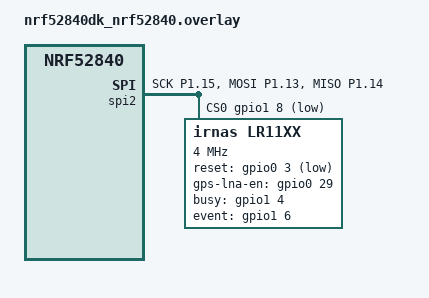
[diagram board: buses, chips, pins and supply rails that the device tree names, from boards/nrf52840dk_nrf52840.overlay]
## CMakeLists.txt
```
# SPDX-License-Identifier: Apache-2.0

cmake_minimum_required(VERSION 3.13.1)

find_package(Zephyr HINTS $ENV{ZEPHYR_BASE})
project(sigfox)

zephyr_compile_options(-fdiagnostics-color=always)

zephyr_include_directories(.)
#add_subdirectory(${CMAKE_CURRENT_SOURCE_DIR}/../common src/common)

target_sources(app PRIVATE src/main_sigfox.c src/lr11xx_rf_api.c src/smtc_dbpsk.c)
```

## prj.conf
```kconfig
# Enable logging (it need to be disabled for low power)
CONFIG_PRINTK=y
CONFIG_GPIO=y
CONFIG_SERIAL=y
CONFIG_CONSOLE=y
CONFIG_UART_CONSOLE=y
CONFIG_LOG=y
CONFIG_LOG_DEFAULT_LEVEL=3
CONFIG_LOG_BACKEND_UART=y

CONFIG_SPI=y
CONFIG_LR11XX_LIB=y
CONFIG_LR11XX_LOG_LEVEL_DBG=y

CONFIG_PINCTRL=y

CONFIG_LR11XX_EVENT_TRIGGER_OWN_THREAD=y

CONFIG_SIGFOX=y
CONFIG_SIGFOX_EP_ID="01234567"
CONFIG_SIGFOX_INITIAL_PAC="0123456789ABCDEF"
CONFIG_SIGFOX_NAK="0123456789ABCDEF0123456789ABCDEF"
CONFIG_SIGFOX_BIDIRECTIONAL=n

CONFIG_FLASH=y
CONFIG_FLASH_PAGE_LAYOUT=y
CONFIG_FLASH_MAP=y
CONFIG_MPU_ALLOW_FLASH_WRITE=y
CONFIG_NVS=y
CONFIG_SETTINGS_NVS=y
```

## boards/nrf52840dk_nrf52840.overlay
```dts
#include <lr11xx_bindings_def.h>
&spi1 {
    status = "disabled";
};

&spi2 {
    compatible = "nordic,nrf-spi";
    status = "okay";
    pinctrl-0 = <&spi2_default>;
    pinctrl-1 = <&spi2_sleep>;
    pinctrl-names = "default", "sleep";

    cs-gpios = <&gpio1 8 GPIO_ACTIVE_LOW>;
    lr11xx: lr11xx@0 {
        compatible = "irnas,lr11xx";
        reg = <0>;
        spi-max-frequency = <4000000>;

        reset-gpios = <&gpio0 3 GPIO_ACTIVE_LOW>;
        gps-lna-en-gpios = <&gpio0 29 0>;
        busy-gpios = <&gpio1 4 (GPIO_ACTIVE_HIGH) >;
        event-gpios = <&gpio1 6 GPIO_ACTIVE_HIGH>;

		lf-tx-path = <LR11XX_TX_PATH_LF_LP_HP>;

        tcxo-supply = <LR11XX_TCXO_SUPPLY_1_8V>;
        tcxo-wakeup-time = <5>;

        lf-clk = <LR11XX_LFCLK_EXT>;
        reg-mode = <LR11XX_REG_MODE_DCDC>;

        rf-sw-enable = <(LR11XX_DIO5 | LR11XX_DIO6 | LR11XX_DIO7)>;
        rf-sw-rx-mode = <LR11XX_DIO5>;
        rf-sw-tx-mode = <(LR11XX_DIO5 | LR11XX_DIO6)>;
        rf-sw-tx-hp-mode = <LR11XX_DIO6>;
        rf-sw-gnss-mode = <LR11XX_DIO7>;
    };
};

&pinctrl {
	spi2_default: spi2_default {
		group1 {
			psels = <NRF_PSEL(SPIM_SCK, 1, 15)>,
			        <NRF_PSEL(SPIM_MOSI, 1, 13)>,
			        <NRF_PSEL(SPIM_MISO, 1, 14)>;
		};
	};

	spi2_sleep: spi2_sleep {
		group1 {
			psels = <NRF_PSEL(SPIM_SCK, 1, 15)>,
			        <NRF_PSEL(SPIM_MOSI, 1, 13)>,
			        <NRF_PSEL(SPIM_MISO, 1, 14)>;
			low-power-enable;
		};
	};
};
```

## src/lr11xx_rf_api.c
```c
#include "lr11xx_rf_api.h"
#include "lr11xx_system.h"
#include "lr11xx_board.h"
#include "lr11xx_radio.h"
#include "lr11xx_regmem.h"
#include "smtc_dbpsk.h"

#include <zephyr/logging/log.h>
LOG_MODULE_REGISTER(lr11xx_rf_api);

typedef struct {
    RF_API_process_cb_t process_cb;
    RF_API_error_cb_t error_cb;
    RF_API_tx_cplt_cb_t tx_cplt_cb;
    RF_API_rx_data_received_cb_t rx_data_received_cb;
} callback_t;

typedef struct {
    callback_t callbacks;
    sfx_bool tx_done_flag;
    sfx_bool rx_done_flag;
    sfx_bool error_flag;
    volatile sfx_bool irq_flag;
    volatile sfx_bool irq_en;
    sfx_u16 backup_bit_rate_bps_patch;
} lr11xx_ctx_t;

static const sfx_u8 LR11XX_RF_API_VERSION[] = "v1.2";

static lr11xx_ctx_t lr11xx_ctx = {
    .callbacks.process_cb = NULL,
    .callbacks.error_cb = NULL,
    .callbacks.tx_cplt_cb = NULL,
    .callbacks.rx_data_received_cb = NULL,
    .tx_done_flag   = 0,
    .rx_done_flag   = 0,
    .error_flag     = 0,
    .irq_flag = 0,
    .irq_en = SFX_FALSE,
    .backup_bit_rate_bps_patch = 0,
};

static void irq_handler(const struct device *dev)
{
    LOG_INF("irq");
    if (lr11xx_ctx.irq_en == 1) {
        lr11xx_ctx.irq_flag = 1;
        if (lr11xx_ctx.callbacks.process_cb != NULL) {
            lr11xx_ctx.callbacks.process_cb();
	}
    }
}

const struct device *device = DEVICE_DT_GET(DT_NODELABEL(lr11xx));

RF_API_status_t LR11XX_RF_API_open(RF_API_config_t *config) {
    RF_API_status_t status = RF_API_SUCCESS;

    /* Set callbacks. */
    lr11xx_ctx.callbacks.process_cb = config->process_cb;
    lr11xx_ctx.callbacks.error_cb = config->error_cb;

    //apps_common_lr11xx_system_init( ( void* ) context );
    //apps_common_lr11xx_fetch_and_print_version( ( void* ) context );
    //apps_common_lr11xx_radio_dbpsk_init( ( void* ) context, SIGFOX_PAYLOAD_LENGTH );

    // int err = lr11xx_system_set_dio_irq_params(device, LR11XX_SYSTEM_IRQ_TX_DONE, 0);
    // if (err) {
    //     LOG_ERR("Failed to set dio irq params, err: %d", err);
    //     return err;
    // }

    // err = lr11xx_system_clear_irq_status(device, LR11XX_SYSTEM_IRQ_ALL_MASK);
    // if (err) {
    //     LOG_ERR("Failed to clear irq status, err: %d", err);
    //     return err;
    // }

    /* Enable irq handler. */
    lr11xx_board_attach_interrupt(device, &irq_handler);
    lr11xx_board_enable_interrupt(device);

    return status;
}

RF_API_status_t LR11XX_RF_API_process(void)
{
    LOG_INF("LR11XX_RF_API_process");
    RF_API_status_t status = RF_API_SUCCESS;
    //LR11XX_HW_API_status_t lr11xx_hw_api_status = LR11XX_HW_API_SUCCESS;

    lr11xx_system_irq_mask_t lr11xx_system_irq_mask;
    lr11xx_status_t lr11xx_status;
    if (lr11xx_ctx.irq_flag != 1) {
        status = LR11XX_RF_API_ERROR_STATE;
    	goto errors;
    }
    lr11xx_ctx.irq_flag = 0;

    lr11xx_status = lr11xx_system_get_and_clear_irq_status(device, &lr11xx_system_irq_mask);
    if (lr11xx_status != LR11XX_STATUS_OK) {
        status = LR11XX_RF_API_ERROR_CHIP_SYSTEM_REG;
        goto errors;
    }

    if (lr11xx_system_irq_mask & LR11XX_SYSTEM_IRQ_TX_DONE) {
        LOG_INF("tx_done");
        // lr11xx_hw_api_status = LR11XX_HW_API_tx_off();
        lr11xx_ctx.tx_done_flag = 1;
        if (lr11xx_ctx.callbacks.tx_cplt_cb) {
            LOG_INF("tx_cplt_cb()");
            lr11xx_ctx.callbacks.tx_cplt_cb();
	}
    }

    if (lr11xx_system_irq_mask & LR11XX_SYSTEM_IRQ_RX_DONE) {
        LOG_INF("rx_done");
        //lr11xx_hw_api_status = LR11XX_HW_API_rx_off();
        lr11xx_ctx.rx_done_flag = 1;
        if (lr11xx_ctx.callbacks.rx_data_received_cb)
            lr11xx_ctx.callbacks.rx_data_received_cb();
    }

    if (lr11xx_system_irq_mask & LR11XX_SYSTEM_IRQ_ERROR) {
        LOG_ERR("irq error");
        lr11xx_ctx.error_flag = 1;
        if (lr11xx_ctx.callbacks.error_cb) {
            lr11xx_ctx.callbacks.error_cb(LR11XX_RF_API_ERROR_CHIP_IRQ);
	}
    }

    return status;
    
errors:
    lr11xx_ctx.callbacks.error_cb(RF_API_ERROR);

    return status;
}

RF_API_status_t LR11XX_RF_API_close(void)
{
    RF_API_status_t status = RF_API_SUCCESS;
    //LR11XX_HW_API_status_t lr11xx_hw_api_status = LR11XX_HW_API_SUCCESS;

    //lr11xx_hw_api_status = LR11XX_HW_API_close();
    return status;
}

RF_API_status_t LR11XX_RF_API_wake_up(void)
{
    RF_API_status_t status = RF_API_SUCCESS;
    lr11xx_status_t lr11xx_status;
    lr11xx_system_errors_t errors;
    lr11xx_system_version_t version;
    const struct lr11xx_hal_context_cfg_t *config = device->config;

    LOG_INF("Reset system.");
    lr11xx_status = lr11xx_system_reset(device);
    if (lr11xx_status != LR11XX_STATUS_OK) {
        LOG_ERR("System reset failed.");
	    return LR11XX_RF_API_ERROR_CHIP_RESET;
    }

    const lr11xx_system_reg_mode_t regulator = config->reg_mode;
    lr11xx_status = lr11xx_system_set_reg_mode(device, regulator);
    if (lr11xx_status != LR11XX_STATUS_OK) {
        LOG_ERR("Failed to config regulator.");
	    return LR11XX_RF_API_ERROR_CHIP_SYSTEM_REG;
    }

    const lr11xx_system_rfswitch_cfg_t rf_switch_setup = config->rf_switch_cfg;
    lr11xx_status = lr11xx_system_set_dio_as_rf_switch(device, &rf_switch_setup);
    if (lr11xx_status != LR11XX_STATUS_OK) {
        LOG_ERR("Failed to config rf switch.");
	    return LR11XX_RF_API_ERROR_CHIP_SYSTEM_REG;
    }

    const struct lr11xx_hal_context_tcxo_cfg_t tcxo_cfg = config->tcxo_cfg;
    if (tcxo_cfg.has_tcxo) {
        const uint32_t timeout_rtc_step = lr11xx_radio_convert_time_in_ms_to_rtc_step(tcxo_cfg.timeout_ms );
        lr11xx_status = lr11xx_system_set_tcxo_mode(device, tcxo_cfg.supply, timeout_rtc_step);
        if (lr11xx_status != LR11XX_STATUS_OK) {
            LOG_ERR("Failed to configure TCXO.");
	        return LR11XX_RF_API_ERROR_CHIP_SYSTEM_REG;
        }
    }

    const struct lr11xx_hal_context_lf_clck_cfg_t lf_clk_cfg = config->lf_clck_cfg;
    lr11xx_status = lr11xx_system_cfg_lfclk(device, lf_clk_cfg.lf_clk_cfg, lf_clk_cfg.wait_32k_ready );
    if (lr11xx_status != LR11XX_STATUS_OK) {
        LOG_ERR("Failed to configure Configure the Low Frequency Clock.");
	    return LR11XX_RF_API_ERROR_CHIP_SYSTEM_REG;
    }

    lr11xx_status = lr11xx_system_clear_errors(device);
    if (lr11xx_status != LR11XX_STATUS_OK) {
        LOG_ERR("Failed to clear errors.");
	    return LR11XX_RF_API_ERROR_CHIP_SYSTEM_REG;
    }

    lr11xx_status = lr11xx_system_calibrate(device, 0x3F );
    if (lr11xx_status != LR11XX_STATUS_OK) {
        LOG_ERR("Failed to calibrate.");
    	return LR11XX_RF_API_ERROR_CHIP_SYSTEM_REG;
    }

    lr11xx_status = lr11xx_system_set_standby(device, LR11XX_SYSTEM_STANDBY_CFG_XOSC);
    if (lr11xx_status != LR11XX_STATUS_OK) {
        LOG_ERR("Failed to set standby.");
        return LR11XX_RF_API_ERROR_CHIP_SYSTEM_REG;
    }

    lr11xx_status = lr11xx_system_set_dio_irq_params(device, 
	        LR11XX_SYSTEM_IRQ_TX_DONE | LR11XX_SYSTEM_IRQ_RX_DONE | LR11XX_SYSTEM_IRQ_ERROR, 0);
    if (lr11xx_status != LR11XX_STATUS_OK) {
	    LOG_ERR("Failed to set dio irq params");
        return LR11XX_RF_API_ERROR_CHIP_SYSTEM_REG;
    }

    lr11xx_status = lr11xx_system_clear_irq_status(device, LR11XX_SYSTEM_IRQ_ALL_MASK);
    if (lr11xx_status) {
        LOG_ERR("Failed to clear irq status.");
    	return LR11XX_RF_API_ERROR_CHIP_SYSTEM_REG;
    }

    lr11xx_status = lr11xx_system_get_version(device, &version);
    if (lr11xx_status != LR11XX_STATUS_OK) {
        LOG_ERR("Failed to get version");
        return LR11XX_RF_API_ERROR_CHIP_SYSTEM_REG;
    }

    lr11xx_status = lr11xx_system_get_errors(device, &errors);
    if ((lr11xx_status != LR11XX_STATUS_OK) || (errors != 0)) {
        LOG_ERR("Failed to get errors, or errors.");
	    return LR11XX_RF_API_ERROR_CHIP_SYSTEM_REG;
    }

    lr11xx_ctx.irq_en = 1;

    return status;
}

RF_API_status_t LR11XX_RF_API_sleep(void) {
    RF_API_status_t status = RF_API_SUCCESS;
    lr11xx_status_t lr11xx_status;
    lr11xx_system_sleep_cfg_t lr11xx_system_sleep_cfg;

    lr11xx_ctx.irq_en = 0;
    lr11xx_system_sleep_cfg.is_warm_start = 0;
    lr11xx_system_sleep_cfg.is_rtc_timeout= 0;

    lr11xx_status = lr11xx_system_set_sleep(device, lr11xx_system_sleep_cfg, 0);
    if (lr11xx_status != LR11XX_STATUS_OK) {
	    LOG_ERR("Failed to set sleep.");
        return LR11XX_RF_API_ERROR_CHIP_SYSTEM_REG;
    }

    return status;
}

RF_API_status_t LR11XX_RF_API_init(RF_API_radio_parameters_t *radio_parameters) {
    RF_API_status_t status = RF_API_SUCCESS;

    lr11xx_radio_mod_params_bpsk_t lr11xx_radio_mod_params_bpsk;
    lr11xx_radio_pa_cfg_t lr11xx_radio_pa_cfg;
    lr11xx_radio_mod_params_gfsk_t lr11xx_radio_mod_params_gfsk;
    lr11xx_status_t lr11xx_status;
    lr11xx_status = lr11xx_radio_set_rf_freq(device, radio_parameters->frequency_hz);
    if (lr11xx_status != LR11XX_STATUS_OK) {
        return LR11XX_RF_API_ERROR_CHIP_RADIO_REG;
    }

    switch (radio_parameters->modulation) {
        case RF_API_MODULATION_DBPSK:
            lr11xx_status = lr11xx_radio_set_pkt_type(device, LR11XX_RADIO_PKT_TYPE_BPSK);
            if ( lr11xx_status != LR11XX_STATUS_OK) {
		        LOG_ERR("Failed to set bpsk packet type");
                return LR11XX_RF_API_ERROR_CHIP_RADIO_REG;
	        }
            lr11xx_radio_mod_params_bpsk.br_in_bps = radio_parameters->bit_rate_bps;
            lr11xx_radio_mod_params_bpsk.pulse_shape = LR11XX_RADIO_DBPSK_PULSE_SHAPE;
            lr11xx_status = lr11xx_radio_set_bpsk_mod_params(device, &lr11xx_radio_mod_params_bpsk);
            if (lr11xx_status != LR11XX_STATUS_OK) {
		        LOG_ERR("Failed to set bpsk modulation params");
                return LR11XX_RF_API_ERROR_CHIP_RADIO_REG;
	        }
            break;
        case RF_API_MODULATION_GFSK:
            lr11xx_status = lr11xx_radio_set_pkt_type(device, LR11XX_RADIO_PKT_TYPE_GFSK);
            if ( lr11xx_status != LR11XX_STATUS_OK) {
		        LOG_ERR("Failed to set gfsk packet type.");
                return LR11XX_RF_API_ERROR_CHIP_RADIO_REG;
	        }
            lr11xx_radio_mod_params_gfsk.br_in_bps = radio_parameters->bit_rate_bps;
            lr11xx_radio_mod_params_gfsk.fdev_in_hz = radio_parameters->deviation_hz;
            lr11xx_radio_mod_params_gfsk.pulse_shape = LR11XX_RADIO_GFSK_PULSE_SHAPE_BT_1;
            lr11xx_radio_mod_params_gfsk.bw_dsb_param = LR11XX_RADIO_GFSK_BW_4800;
            lr11xx_status = lr11xx_radio_set_gfsk_mod_params(device, &lr11xx_radio_mod_params_gfsk);
            if ( lr11xx_status != LR11XX_STATUS_OK) {
		    LOG_ERR("Faied to set gfsk modulation params.");
                return LR11XX_RF_API_ERROR_CHIP_RADIO_REG;
	        }
            break;
        case RF_API_MODULATION_NONE :
            lr11xx_status = lr11xx_radio_set_pkt_type(device, LR11XX_RADIO_PKT_TYPE_RANGING);
            if (lr11xx_status != LR11XX_STATUS_OK) {
		        LOG_ERR("Failed to set ranging packet type");
                return LR11XX_RF_API_ERROR_CHIP_RADIO_REG;
	        }
            break;
        default:
	    LOG_ERR("Unknown modulation.");
            return LR11XX_RF_API_ERROR_MODULATION;
    }

    if (radio_parameters->rf_mode == RF_API_MODE_TX) {
        lr11xx_ctx.backup_bit_rate_bps_patch = radio_parameters->bit_rate_bps;
        if (radio_parameters->tx_power_dbm_eirp > 14 ) {
            lr11xx_radio_pa_cfg.pa_reg_supply = LR11XX_RADIO_PA_REG_SUPPLY_VBAT;
            lr11xx_radio_pa_cfg.pa_sel = LR11XX_RADIO_PA_SEL_HP;
            lr11xx_radio_pa_cfg.pa_hp_sel = 0x07;
        } else {
            lr11xx_radio_pa_cfg.pa_reg_supply = LR11XX_RADIO_PA_REG_SUPPLY_VREG;
            lr11xx_radio_pa_cfg.pa_sel = LR11XX_RADIO_PA_SEL_LP;
            lr11xx_radio_pa_cfg.pa_hp_sel = 0x00;
        }
        lr11xx_radio_pa_cfg.pa_duty_cycle = 0x04;

        lr11xx_status = lr11xx_radio_set_pa_cfg(device ,&lr11xx_radio_pa_cfg);
        if (lr11xx_status != LR11XX_STATUS_OK) {
	        LOG_ERR("Failed to set pa cfg.");
            return LR11XX_RF_API_ERROR_CHIP_RADIO_REG;
	}

        lr11xx_status = lr11xx_radio_set_tx_params(device, radio_parameters->tx_power_dbm_eirp, LR11XX_RADIO_RAMP_208_US);
        if ( lr11xx_status != LR11XX_STATUS_OK) {
	        LOG_ERR("Failed to set tx params.");
            return LR11XX_RF_API_ERROR_CHIP_RADIO_REG;
	}

    }
    if (radio_parameters->rf_mode == RF_API_MODE_RX) {

    }

    return status;
}

RF_API_status_t LR11XX_RF_API_de_init(void) {
    RF_API_status_t status = RF_API_SUCCESS;
    lr11xx_status_t lr11xx_status;

    lr11xx_status = lr11xx_system_set_standby(device, LR11XX_SYSTEM_STANDBY_CFG_XOSC);
    if (lr11xx_status != LR11XX_STATUS_OK) {
	    LOG_ERR("Failed to set standby.");
        return LR11XX_RF_API_ERROR_CHIP_SYSTEM_REG;
    }

    //lr11xx_hw_api_status = LR11XX_HW_API_rx_off();
    //lr11xx_hw_api_status = LR11XX_HW_API_tx_off();
    
    return status;
}

RF_API_status_t LR11XX_RF_API_send(RF_API_tx_data_t *tx_data) {
    RF_API_status_t status = RF_API_SUCCESS;
    lr11xx_radio_pkt_params_bpsk_t lr11xx_radio_pkt_params_bpsk;
    lr11xx_status_t lr11xx_status;
    sfx_u8 buffer[SIGFOX_UL_BITSTREAM_SIZE_BYTES + 1];
    sfx_u8 i;
    lr11xx_ctx.callbacks.tx_cplt_cb = tx_data->cplt_cb;
    lr11xx_ctx.tx_done_flag = 0;
    lr11xx_ctx.error_flag = 0;
    for (i = 0; i < tx_data->bitstream_size_bytes; i++) {
        buffer[i] = tx_data->bitstream[i];
    }
    buffer[tx_data->bitstream_size_bytes] = 0x80;
    smtc_dbpsk_encode_buffer(buffer, tx_data->bitstream_size_bytes * 8 + 2, buffer);

    /* Set the BPSK packet params. */
    lr11xx_radio_pkt_params_bpsk.pld_len_in_bits = smtc_dbpsk_get_pld_len_in_bits(tx_data->bitstream_size_bytes * 8);
    lr11xx_radio_pkt_params_bpsk.pld_len_in_bytes = smtc_dbpsk_get_pld_len_in_bytes(tx_data->bitstream_size_bytes * 8);
    if (lr11xx_ctx.backup_bit_rate_bps_patch == 100) {
        lr11xx_radio_pkt_params_bpsk.ramp_down_delay = LR11XX_RADIO_SIGFOX_DBPSK_RAMP_DOWN_TIME_100_BPS;
        lr11xx_radio_pkt_params_bpsk.ramp_up_delay = LR11XX_RADIO_SIGFOX_DBPSK_RAMP_UP_TIME_100_BPS;
    } else if (lr11xx_ctx.backup_bit_rate_bps_patch == 600) {
        lr11xx_radio_pkt_params_bpsk.ramp_down_delay = LR11XX_RADIO_SIGFOX_DBPSK_RAMP_DOWN_TIME_600_BPS;
        lr11xx_radio_pkt_params_bpsk.ramp_up_delay = LR11XX_RADIO_SIGFOX_DBPSK_RAMP_UP_TIME_600_BPS;
    }

    lr11xx_status = lr11xx_radio_set_bpsk_pkt_params(device, &lr11xx_radio_pkt_params_bpsk);
    if (lr11xx_status != LR11XX_STATUS_OK) {
	    LOG_ERR("Failed to set bpsk packet params.");
        return LR11XX_RF_API_ERROR_CHIP_RADIO_REG;
    }

    lr11xx_status = lr11xx_regmem_write_buffer8(device, buffer, lr11xx_radio_pkt_params_bpsk.pld_len_in_bytes);
    if (lr11xx_status != LR11XX_STATUS_OK) {
	    LOG_ERR("Failed to write regmem.");
        return LR11XX_RF_API_ERROR_CHIP_REGMEM_REG;
    }

    //lr11xx_hw_api_status = LR11XX_HW_API_tx_on();
    lr11xx_status = lr11xx_radio_set_tx(device, 5000);
    if (lr11xx_status != LR11XX_STATUS_OK) {
	    LOG_ERR("Failed to set tx.");
        return LR11XX_RF_API_ERROR_CHIP_RADIO_REG;
    }

    return status;
}

RF_API_status_t LR11XX_RF_API_receive(RF_API_rx_data_t *rx_data) {
    LOG_INF("LR11XX_RF_API_receive");
    RF_API_status_t status = RF_API_SUCCESS;
    //LR11XX_HW_API_status_t lr11xx_hw_api_status = LR11XX_HW_API_SUCCESS;
    lr11xx_status_t lr11xx_status;
    lr11xx_radio_pkt_params_gfsk_t lr11xx_radio_pkt_params_gfsk;
    sfx_u8 sync_word_short[SIGFOX_DL_FT_SIZE_BYTES] = SIGFOX_DL_FT;
    sfx_u8 sync_word[LR11XX_RADIO_GFSK_SYNC_WORD_LENGTH];
    memcpy(sync_word, sync_word_short, SIGFOX_DL_FT_SIZE_BYTES);
    lr11xx_ctx.callbacks.rx_data_received_cb = rx_data->data_received_cb;
    lr11xx_ctx.rx_done_flag = 0;
    lr11xx_ctx.error_flag = 0;
    lr11xx_radio_pkt_params_gfsk.address_filtering = LR11XX_RADIO_GFSK_ADDRESS_FILTERING_DISABLE;
    lr11xx_radio_pkt_params_gfsk.crc_type = LR11XX_RADIO_GFSK_CRC_OFF;
    lr11xx_radio_pkt_params_gfsk.dc_free = LR11XX_RADIO_GFSK_DC_FREE_OFF;
    lr11xx_radio_pkt_params_gfsk.header_type = LR11XX_RADIO_GFSK_PKT_FIX_LEN;
    lr11xx_radio_pkt_params_gfsk.pld_len_in_bytes = SIGFOX_DL_PHY_CONTENT_SIZE_BYTES;
    lr11xx_radio_pkt_params_gfsk.preamble_detector = LR11XX_RADIO_GFSK_PREAMBLE_DETECTOR_MIN_16BITS;
    lr11xx_radio_pkt_params_gfsk.preamble_len_in_bits = 16;
    lr11xx_radio_pkt_params_gfsk.sync_word_len_in_bits = SIGFOX_DL_FT_SIZE_BYTES * 8;

    lr11xx_status = lr11xx_radio_set_gfsk_pkt_params(device, &lr11xx_radio_pkt_params_gfsk);
    if (lr11xx_status != LR11XX_STATUS_OK) {
	    LOG_ERR("Failed to set gfsk packet params.");
        return LR11XX_RF_API_ERROR_CHIP_RADIO_REG;
    }

    lr11xx_status = lr11xx_radio_set_gfsk_sync_word(device, sync_word);
    if (lr11xx_status != LR11XX_STATUS_OK) {
	    LOG_ERR("Failed to set gfsk sync word.");
        return LR11XX_RF_API_ERROR_CHIP_RADIO_REG;
    }

    lr11xx_status = lr11xx_radio_cfg_rx_boosted(device, 0x01);
    if (lr11xx_status != LR11XX_STATUS_OK) {
	    LOG_ERR("Failed to set cfg rx boosted.");
        return LR11XX_RF_API_ERROR_CHIP_RADIO_REG;
    }

    //lr11xx_hw_api_status = LR11XX_HW_API_rx_on();
    
    lr11xx_status = lr11xx_radio_set_rx_with_timeout_in_rtc_step(device, 0xFFFFFF);
    if (lr11xx_status != LR11XX_STATUS_OK) {
	    LOG_ERR("Failed to set rx with timeout.");
        return LR11XX_RF_API_ERROR_CHIP_RADIO_REG;
    }

    return status;
}

RF_API_status_t LR11XX_RF_API_get_dl_phy_content_and_rssi(sfx_u8 *dl_phy_content, sfx_u8 dl_phy_content_size, sfx_s16 *dl_rssi_dbm)
{
    RF_API_status_t status = RF_API_SUCCESS;
    lr11xx_status_t lr11xx_status;
    lr11xx_radio_pkt_status_gfsk_t lr11xx_radio_pkt_status_gfsk;
    lr11xx_radio_rx_buffer_status_t lr11xx_radio_rx_buffer_status;

    // Check parameters.
    if ((dl_phy_content == SFX_NULL) || (dl_rssi_dbm == SFX_NULL)) {
        LOG_ERR("Null parameter.");
        return LR11XX_RF_API_ERROR_NULL_PARAMETER;
    }
    if (dl_phy_content_size > SIGFOX_DL_PHY_CONTENT_SIZE_BYTES) {
        LOG_ERR("Buffer size.");
        return LR11XX_RF_API_ERROR_BUFFER_SIZE;
    }

    if (lr11xx_ctx.rx_done_flag != SFX_TRUE) {
        LOG_ERR("API state.");
        return LR11XX_RF_API_ERROR_STATE;
    }

    lr11xx_status = lr11xx_radio_get_gfsk_pkt_status(device, &lr11xx_radio_pkt_status_gfsk);
    if (lr11xx_status != LR11XX_STATUS_OK) {
        LOG_ERR("Failed to get gfsk packet status");
        return LR11XX_RF_API_ERROR_CHIP_RADIO_REG;
    }
    if (lr11xx_radio_pkt_status_gfsk.is_received == 1) {
        *dl_rssi_dbm = (sfx_s16)lr11xx_radio_pkt_status_gfsk.rssi_avg_in_dbm;
        lr11xx_status = lr11xx_radio_get_rx_buffer_status(device, &lr11xx_radio_rx_buffer_status);
        if (lr11xx_status != LR11XX_STATUS_OK) {
            LOG_ERR("Failed to get rx buffer status");
            return LR11XX_RF_API_ERROR_CHIP_RADIO_REG;
        }
        lr11xx_status = lr11xx_regmem_read_buffer8(device, dl_phy_content, lr11xx_radio_rx_buffer_status.buffer_start_pointer,
                dl_phy_content_size);
        if (lr11xx_status != LR11XX_STATUS_OK) {
            LOG_ERR("Failed to read buffer");
            return LR11XX_RF_API_ERROR_CHIP_REGMEM_REG;
        }
        lr11xx_status = lr11xx_regmem_clear_rxbuffer(device);
        if (lr11xx_status != LR11XX_STATUS_OK) {
            LOG_ERR("Failed to clear rxbuffer");
            return LR11XX_RF_API_ERROR_CHIP_REGMEM_REG;
        }
    }

    return status;
}

RF_API_status_t LR11XX_RF_API_get_version(sfx_u8 **version, sfx_u8 *version_size_char)
{
    RF_API_status_t status = RF_API_SUCCESS;

    (*version) = (sfx_u8*) LR11XX_RF_API_VERSION;
    (*version_size_char) = (sfx_u8) sizeof(LR11XX_RF_API_VERSION);
    
    return status;
}
        
void LR11XX_RF_API_error(void) {
    lr11xx_regmem_clear_rxbuffer(device);
    LR11XX_RF_API_de_init();
    LR11XX_RF_API_sleep();
}

inline RF_API_status_t RF_API_open(RF_API_config_t *rf_api_config) {
        return LR11XX_RF_API_open(rf_api_config);
}

inline RF_API_status_t RF_API_close(void) {
        return LR11XX_RF_API_close();
}

inline RF_API_status_t RF_API_process(void) {
        return LR11XX_RF_API_process();
}
    
inline RF_API_status_t RF_API_wake_up(void) {
        return LR11XX_RF_API_wake_up();
}   

inline RF_API_status_t RF_API_sleep(void) {
        return LR11XX_RF_API_sleep();
}

inline RF_API_status_t RF_API_init(RF_API_radio_parameters_t *radio_parameters) {
        return LR11XX_RF_API_init(radio_parameters);
}

inline RF_API_status_t RF_API_de_init(void) {
        return LR11XX_RF_API_de_init();
}

inline RF_API_status_t RF_API_send(RF_API_tx_data_t *tx_data) {
        return LR11XX_RF_API_send(tx_data);
}

inline RF_API_status_t RF_API_receive(RF_API_rx_data_t *rx_data) {
        return LR11XX_RF_API_receive(rx_data);
}

inline RF_API_status_t RF_API_get_dl_phy_content_and_rssi(sfx_u8 *dl_phy_content, sfx_u8 dl_phy_content_size, sfx_s16 *dl_rssi_dbm) {
        return LR11XX_RF_API_get_dl_phy_content_and_rssi(dl_phy_content, dl_phy_content_size, dl_rssi_dbm);
}

inline RF_API_status_t RF_API_get_version(sfx_u8 **version, sfx_u8 *version_size_char) {
        return LR11XX_RF_API_get_version(version, version_size_char);
}

inline void RF_API_error(void) {
        LR11XX_RF_API_error();
}
```

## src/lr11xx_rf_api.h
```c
#ifndef __LR11XX_RF_API_H__
#define __LR11XX_RF_API_H__

#ifdef USE_SIGFOX_EP_FLAGS_H
#include "sigfox_ep_flags.h"
#endif
#include "manuf/rf_api.h"

/*** LR11XX RF API structures ***/

#ifdef ERROR_CODES
/*!******************************************************************
 * \enum LR11XX_RF_API_status_t
 * \brief LR11XX RF driver error codes.
 *******************************************************************/
typedef enum {
    LR11XX_RF_API_ERROR_NULL_PARAMETER = RF_API_ERROR_LAST,
    LR11XX_RF_API_ERROR_BUFFER_SIZE,
    LR11XX_RF_API_ERROR_CHIP_RESET,
    LR11XX_RF_API_ERROR_CHIP_WAKEUP,
    LR11XX_RF_API_ERROR_CHIP_SYSTEM_REG,
    LR11XX_RF_API_ERROR_CHIP_RADIO_REG,
    LR11XX_RF_API_ERROR_CHIP_REGMEM_REG,
    LR11XX_RF_API_ERROR_CHIP_IRQ,
    LR11XX_RF_API_ERROR_MODULATION,
    LR11XX_RF_API_ERROR_STATE,
    // Low level errors.
    // Activate the ERROR_STACK flag and use the SIGFOX_EP_API_unstack_error() function to get more details.
    LR11XX_RF_API_ERROR_DRIVER_MCU_API,
    LR11XX_RF_API_ERROR_DRIVER_LR11XX_HW_API,
    // Last index.
    SIGFOX_RF_API_ERROR_LAST
} LR11XX_RF_API_status_t;
#endif

/*** LR11XX RF API functions ***/

#if (defined ASYNCHRONOUS) || (defined LOW_LEVEL_OPEN_CLOSE)
/*!******************************************************************
 * \fn LR11XX_RF_API_status_t RF_API_open(RF_API_config_t *config)
 * \brief Open the RF driver.
 * \param[in]   config: Pointer to the RF API configuration.
 * \param[out]  none
 * \retval      Function execution status.
 *******************************************************************/
RF_API_status_t LR11XX_RF_API_open(RF_API_config_t *config);
#endif

#ifdef ASYNCHRONOUS
/*!******************************************************************
 * \fn LR11XX_RF_API_status_t RF_API_process(void)
 * \brief Process RF driver, this function will be call by SIGFOX_EP_API_process just after the process_callback has been sent to process RF interruptions in main context.
 * \param[in]   none
 * \param[out]  none
 * \retval      Function execution status.
 *******************************************************************/
RF_API_status_t LR11XX_RF_API_process(void);
#endif

#ifdef LOW_LEVEL_OPEN_CLOSE
/*!******************************************************************
 * \fn RF_API_status_t LR11XX_RF_API_close(void)
 * \brief Close the RF driver.
 * \param[in]   none
 * \param[out]  none
 * \retval      Function execution status.
 *******************************************************************/
RF_API_status_t LR11XX_RF_API_close(void);
#endif

/*!******************************************************************
 * \fn RF_API_status_t LR11XX_RF_API_init(void)
 * \brief Wake-up the radio before each overall TX or RX sequence.
 * \param[in]   none
 * \param[out]  none
 * \retval      Function execution status.
 *******************************************************************/
RF_API_status_t LR11XX_RF_API_wake_up(void);

/*!******************************************************************
 * \fn RF_API_status_t LR11XX_RF_API_de_init(void)
 * \brief Release the radio after each overall TX or RX sequence.
 * \param[in]   none
 * \param[out]  none
 * \retval      Function execution status.
 *******************************************************************/
RF_API_status_t LR11XX_RF_API_sleep(void);

/*!******************************************************************
 * \fn LR11XX_RF_API_status_t RF_API_init(RF_API_radio_parameters_t *radio_params)
 * \brief Initialize the radio operation before each individual frame transmission or reception.
 * \param[in]   radio_params: Radio parameters.
 * \param[out]  none
 * \retval      Function execution status.
 *******************************************************************/
RF_API_status_t LR11XX_RF_API_init(RF_API_radio_parameters_t *radio_params);

/*!******************************************************************
 * \fn RF_API_status_t LR11XX_RF_API_stop(void)
 * \brief Stop the radio operation after each individual frame transmission or reception.
 * \param[in]   rf_mode: Radio mode.
 * \param[out]  none
 * \retval      Function execution status.
 *******************************************************************/
RF_API_status_t LR11XX_RF_API_de_init(void);

/*!******************************************************************
 * \fn RF_API_status_t LR11XX_RF_API_send(RF_API_tx_data_t *tx_data)
 * \brief Sending a bitstream over the air.
 * \brief In blocking mode, this function blocks until the full bitstream is sent.
 * \brief In asynchronous, this function only starts the transmission. End of transmission should be notified through the cplt_cb() callback.
 * \param[in]   tx_data: Pointer to the TX parameters.
 * \param[out]  none
 * \retval      Function execution status.
 *******************************************************************/
RF_API_status_t LR11XX_RF_API_send(RF_API_tx_data_t *tx_data);

#ifdef BIDIRECTIONAL
/*!******************************************************************
 * \fn RF_API_status_t LR11XX_RF_API_receive(RF_API_rx_data_t *rx_data)
 * \brief Start downlink reception. Could be called multiple times if several downlink frames are received during the RX window.
 * \brief In blocking mode, this function blocks until a valid downlink data is received or the MCU_API_TIMER_2 has elapsed.
 * \brief In asynchronous mode, this function only starts the reception. Data reception should be notified through the rx_data_received() callback.
 * \param[in]   rx_data: Pointer to the RX parameters.
 * \retval      Function execution status.
 *******************************************************************/
RF_API_status_t LR11XX_RF_API_receive(RF_API_rx_data_t *rx_data);
#endif

#ifdef BIDIRECTIONAL
/*!******************************************************************
 * \fn RF_API_status_t LR11XX_RF_API_get_dl_phy_content_and_rssi(sfx_u8 *dl_phy_content, sfx_s16 *rssi_dbm)
 * \brief Read DL-PHY content and RSSI received by the radio.
 * \brief In blocking mode, this function will be called only if the data_received parameter of the RF_API_receive() function is returned with SFX_TRUE value.
 * \brief in asynchronous mode, this function will be called only if the data_received_cb callback is triggered during reception.
 * \param[in]   dl_phy_content_size: Number of bytes to copy in dl_phy_content.
 * \param[out]  dl_phy_content: Array to be filled with the received DL-PHY content.
 * \param[out]  dl_rssi_dbm: Pointer to 16-bits signed value to be filled with the DL RSSI in dBm.
 * \retval      Function execution status.
 *******************************************************************/
RF_API_status_t LR11XX_RF_API_get_dl_phy_content_and_rssi(sfx_u8 *dl_phy_content, sfx_u8 dl_phy_content_size, sfx_s16 *dl_rssi_dbm);
#endif

#if (defined REGULATORY) && (defined SPECTRUM_ACCESS_LBT)
/*!******************************************************************
 * \fn RF_API_status_t LR11XX_RF_API_carrier_sense(RF_API_carrier_sense_parameters_t *carrier_sense_params)
 * \brief In blocking mode, the function until the LBT condition is met or the MCU_API_TIMER_1 has elapsed.
 * \brief In asynchronous mode, this function only starts the carrier sense operation. Channel free event should be notified through the channel_free_cb() callback.
 * \param[in]   carrier_sense_params: Pointer to the carrier sense parameters.
 * \param[out]  none
 * \retval      Function execution status.
 *******************************************************************/
RF_API_status_t LR11XX_RF_API_carrier_sense(RF_API_carrier_sense_parameters_t *carrier_sense_params);
#endif

#if (defined TIMER_REQUIRED) && (defined LATENCY_COMPENSATION)
/*!******************************************************************
 * \fn RF_API_status_t LR11XX_RF_API_get_latency(RF_API_latency_t latency_type, sfx_u32 *latency_ms)
 * \brief Read radio latency in milliseconds.
 * \brief This functions is never called by the core library: it is provided to compensate the durations in the MCU_API_timer_start() function.
 * \param[in]   latency_type: Type of latency to get.
 * \param[out]  latency_ms: Pointer to integer that will contain the radio latency in milliseconds.
 * \retval      Function execution status.
 *******************************************************************/
RF_API_status_t LR11XX_RF_API_get_latency(RF_API_latency_t latency_type, sfx_u32 *latency_ms);
#endif

#ifdef CERTIFICATION
/*!******************************************************************
 * \fn LR11XX_RF_API_status_t RF_API_start_continuous_wave(void)
 * \brief Start continuous wave transmission using radio parameters given in the RF_API_init() function.
 * \brief This function is only called by the type approval addon (EP-ADDON-TA). In asynchronous mode, it must not issue any completion callback.
 * \param[in]  	none
 * \param[out] 	none
 * \retval		Function execution status.
 *******************************************************************/
RF_API_status_t LR11XX_RF_API_start_continuous_wave(void);
#endif

#ifdef VERBOSE
/*!******************************************************************
 * \fn LR11XX_RF_API_status_t RF_API_get_version(sfx_u8 **version, sfx_u8 *version_size_char)
 * \brief Get RF driver version.
 * \param[in]   none
 * \param[out]  version: RF driver version.
 * \param[out]  version_size_char: Pointer to the version size.
 * \retval      Function execution status.
 *******************************************************************/
RF_API_status_t LR11XX_RF_API_get_version(sfx_u8 **version, sfx_u8 *version_size_char);
#endif

#ifdef ERROR_CODES
/*!******************************************************************
 * \fn void LR11XX_RF_API_error(void)
 * \brief Function called by the library if any error occurred during the processing.
 * \param[in]   none
 * \param[out]  none
 * \retval      none
 *******************************************************************/
void LR11XX_RF_API_error(void);
#endif

/*** Unwanted flag combinations and values ***/

#ifndef LOW_LEVEL_OPEN_CLOSE
#error "LOW_LEVEL_OPEN_CLOSE flag needed with LR1XX_RF flags"
#endif

#endif /* __LR11XX_RF_API_H__ */
```

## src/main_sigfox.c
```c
#include <stdio.h>
#include <string.h>

#include "lr11xx_radio.h"
#include "lr11xx_system.h"
#include "lr11xx_board.h"
#include "lr11xx_regmem.h"
#include "main_sigfox.h"
#include "smtc_dbpsk.h"

#include "sigfox_ep_api.h"
#include "sigfox_error.h"
#include "sigfox_rc.h"
#include "sigfox_types.h"
#include "manuf/rf_api.h"

#include <zephyr/logging/log.h>
LOG_MODULE_REGISTER(main_sigfox);

#define SIGFOX_PAYLOAD_LENGTH 26
#define IRQ_MASK LR11XX_SYSTEM_IRQ_TX_DONE

static void send_frame( uint8_t *payload, uint8_t payload_len );

static void uplink_cplt_cb(void)
{
    LOG_INF("uplink_cplt_cb");
}

// Global variables.
static volatile sfx_bool sigfox_process_flag = SFX_FALSE;
static volatile sfx_bool sigfox_message_completion_flag = SFX_FALSE;

static void sigfox_process_work_fn(struct k_work *work)
{
    LOG_INF("SIGFOX_process_callback");
    SIGFOX_EP_API_status_t status = SIGFOX_EP_API_process();
}
K_WORK_DEFINE(sigfox_process_work, sigfox_process_work_fn);

// Process callback.
void SIGFOX_process_callback(void) {
    k_work_submit(&sigfox_process_work);
}

static void SIGFOX_message_completion_work_fn(struct k_work *work)
{
    LOG_INF("SIGFOX message completion callback");
}
K_WORK_DEFINE(sigfox_message_completion_work, SIGFOX_message_completion_work_fn);

// Message completion callback.
void SIGFOX_message_completion_callback(void) {
    k_work_submit(&sigfox_message_completion_work);
}

static void send_application_message(void)
{
    #define APP_UL_PAYLOAD_SIZE 9

    LOG_INF("send_application_message");
    SIGFOX_EP_API_status_t status;

    SIGFOX_EP_API_application_message_t application_message;
    SIGFOX_EP_API_message_status_t message_status;
    sfx_u8 app_ul_payload[APP_UL_PAYLOAD_SIZE] = {0x00, 0x01, 0x02, 0x03, 0x04, 0x05, 0x06, 0x07, 0x08};
    sfx_u8 app_dl_payload[SIGFOX_DL_PAYLOAD_SIZE_BYTES];
    sfx_s16 dl_rssi_dbm = 0;

    application_message.common_parameters.ul_bit_rate = SIGFOX_UL_BIT_RATE_100BPS;
    application_message.common_parameters.tx_power_dbm_eirp = 14;
    application_message.common_parameters.number_of_frames = 3;
    application_message.common_parameters.t_ifu_ms = 500;
    application_message.common_parameters.ep_key_type = SIGFOX_EP_KEY_PRIVATE;
    application_message.type = SIGFOX_APPLICATION_MESSAGE_TYPE_BYTE_ARRAY;
    application_message.ul_payload = (sfx_u8*) app_ul_payload;
    application_message.ul_payload_size_bytes = APP_UL_PAYLOAD_SIZE;
    application_message.t_conf_ms = 2000;
    application_message.uplink_cplt_cb = &uplink_cplt_cb;
    application_message.message_cplt_cb = &SIGFOX_message_completion_callback;

    application_message.bidirectional_flag = SFX_FALSE;

    status = SIGFOX_EP_API_send_application_message(&application_message);

    LOG_INF("status: %d", status);
}

int main( void )
{
    LOG_INF( "===== LR11xx Sigfox PHY example =====" );

    SIGFOX_EP_API_config_t lib_config;
    SIGFOX_EP_API_status_t sigfox_ep_api_status;
    SIGFOX_EP_API_message_status_t message_status;

    lib_config.rc = &SIGFOX_RC1;
    lib_config.message_counter_rollover = SIGFOX_MESSAGE_COUNTER_ROLLOVER_4096;
    lib_config.process_cb = &SIGFOX_process_callback;

    sigfox_ep_api_status = SIGFOX_EP_API_open(&lib_config);

    uint8_t *version;
    uint8_t version_size;
    sigfox_ep_api_status = SIGFOX_EP_API_get_version(SIGFOX_VERSION_EP_LIBRARY, &version, &version_size);
    LOG_INF("SIGFOX EP LIBARY version: %s", version);

    uint8_t ep_id[SIGFOX_EP_ID_SIZE_BYTES];
    uint8_t ep_id_size_bytes = SIGFOX_EP_ID_SIZE_BYTES;
    sigfox_ep_api_status = SIGFOX_EP_API_get_ep_id(ep_id, ep_id_size_bytes);
    LOG_HEXDUMP_INF(ep_id, ep_id_size_bytes, "ep_id:");

    uint8_t initial_pac[SIGFOX_EP_PAC_SIZE_BYTES];
    uint8_t initial_pac_size_bytes = SIGFOX_EP_PAC_SIZE_BYTES;
    sigfox_ep_api_status = SIGFOX_EP_API_get_initial_pac(initial_pac,
		   initial_pac_size_bytes);
    LOG_HEXDUMP_INF(initial_pac, initial_pac_size_bytes, "initial_pac:");

    send_application_message();
}
```

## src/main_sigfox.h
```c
/*!
 * @file      main_sigfox.h
 *
 * @brief     Sigfox PHY example for LR11xx chip
 *
 * The Clear BSD License
 * Copyright Semtech Corporation 2023. All rights reserved.
 *
 * Redistribution and use in source and binary forms, with or without
 * modification, are permitted (subject to the limitations in the disclaimer
 * below) provided that the following conditions are met:
 *     * Redistributions of source code must retain the above copyright
 *       notice, this list of conditions and the following disclaimer.
 *     * Redistributions in binary form must reproduce the above copyright
 *       notice, this list of conditions and the following disclaimer in the
 *       documentation and/or other materials provided with the distribution.
 *     * Neither the name of the Semtech corporation nor the
 *       names of its contributors may be used to endorse or promote products
 *       derived from this software without specific prior written permission.
 *
 * NO EXPRESS OR IMPLIED LICENSES TO ANY PARTY'S PATENT RIGHTS ARE GRANTED BY
 * THIS LICENSE. THIS SOFTWARE IS PROVIDED BY THE COPYRIGHT HOLDERS AND
 * CONTRIBUTORS "AS IS" AND ANY EXPRESS OR IMPLIED WARRANTIES, INCLUDING, BUT
 * NOT LIMITED TO, THE IMPLIED WARRANTIES OF MERCHANTABILITY AND FITNESS FOR A
 * PARTICULAR PURPOSE ARE DISCLAIMED. IN NO EVENT SHALL SEMTECH CORPORATION BE
 * LIABLE FOR ANY DIRECT, INDIRECT, INCIDENTAL, SPECIAL, EXEMPLARY, OR
 * CONSEQUENTIAL DAMAGES (INCLUDING, BUT NOT LIMITED TO, PROCUREMENT OF
 * SUBSTITUTE GOODS OR SERVICES; LOSS OF USE, DATA, OR PROFITS; OR BUSINESS
 * INTERRUPTION) HOWEVER CAUSED AND ON ANY THEORY OF LIABILITY, WHETHER IN
 * CONTRACT, STRICT LIABILITY, OR TORT (INCLUDING NEGLIGENCE OR OTHERWISE)
 * ARISING IN ANY WAY OUT OF THE USE OF THIS SOFTWARE, EVEN IF ADVISED OF THE
 * POSSIBILITY OF SUCH DAMAGE.
 */

#ifndef MAIN_SIGFOX_H
#define MAIN_SIGFOX_H

#ifdef __cplusplus
extern "C" {
#endif

/*
 * -----------------------------------------------------------------------------
 * --- DEPENDENCIES ------------------------------------------------------------
 */

/*
 * -----------------------------------------------------------------------------
 * --- PUBLIC MACROS -----------------------------------------------------------
 */

/*!
 *  @brief Delay in ms between the end of a transmission and the beginning of the next one
 */
#ifndef TX_TO_TX_DELAY_IN_MS
#define TX_TO_TX_DELAY_IN_MS 60000
#endif

/*
 * -----------------------------------------------------------------------------
 * --- PUBLIC CONSTANTS --------------------------------------------------------
 */

/*
 * -----------------------------------------------------------------------------
 * --- PUBLIC TYPES ------------------------------------------------------------
 */

/*
 * -----------------------------------------------------------------------------
 * --- PUBLIC FUNCTIONS PROTOTYPES ---------------------------------------------
 */

#ifdef __cplusplus
}
#endif

#endif  // MAIN_SIGFOX_H

/* --- EOF ------------------------------------------------------------------ */
```
